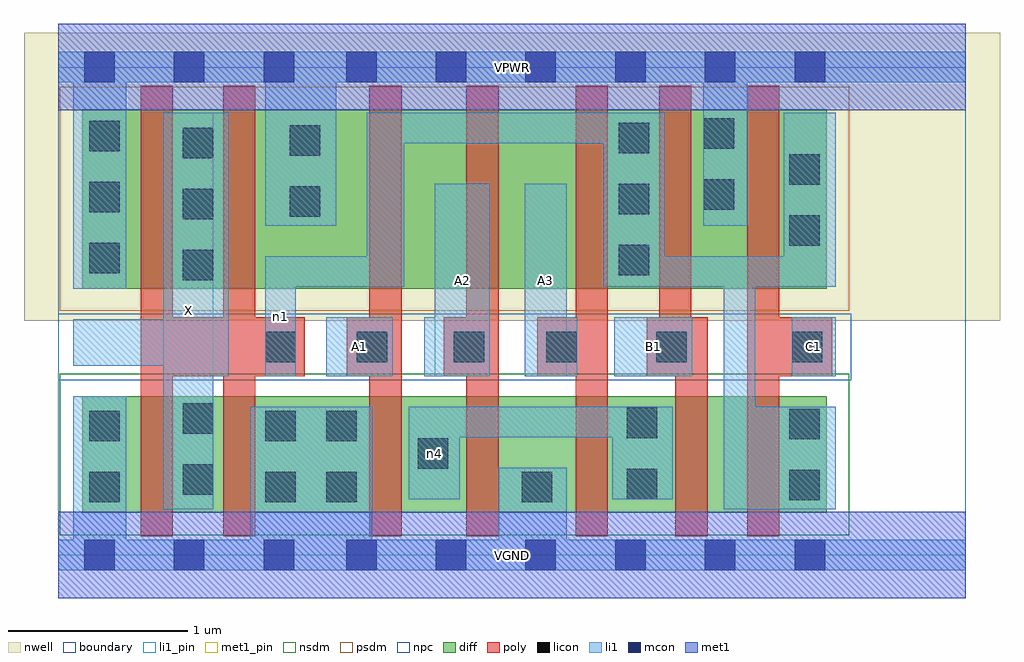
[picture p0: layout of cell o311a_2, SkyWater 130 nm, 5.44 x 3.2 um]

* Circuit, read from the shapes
.subckt o311a_2 A1 A2 A3 B1 C1 VGND VPWR X n1 n4
XM1 X n1 VGND VSUBS sky130_fd_pr__nfet_01v8 w=0.65 l=0.18 m=2
XM2 n4 A1 VGND VSUBS sky130_fd_pr__nfet_01v8 w=0.65 l=0.18
XM3 VGND A2 n4 VSUBS sky130_fd_pr__nfet_01v8 w=0.65 l=0.18
XM4 n4 A3 VGND VSUBS sky130_fd_pr__nfet_01v8 w=0.65 l=0.18
XM5 n2 B1 n4 VSUBS sky130_fd_pr__nfet_01v8 w=0.65 l=0.18
XM6 n1 C1 n2 VSUBS sky130_fd_pr__nfet_01v8 w=0.65 l=0.18
XM7 X n1 VPWR n3 sky130_fd_pr__pfet_01v8 w=1 l=0.18 m=2
XM8 n5 A1 VPWR n3 sky130_fd_pr__pfet_01v8 w=1 l=0.18
XM9 n6 A2 n5 n3 sky130_fd_pr__pfet_01v8 w=1 l=0.18
XM10 n1 A3 n6 n3 sky130_fd_pr__pfet_01v8 w=1 l=0.18
XM11 VPWR B1 n1 n3 sky130_fd_pr__pfet_01v8 w=1 l=0.18
XM12 n1 C1 VPWR n3 sky130_fd_pr__pfet_01v8 w=1 l=0.18
.ends

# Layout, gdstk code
import gdstk
lib = gdstk.Library(unit=1e-6, precision=1e-09)
def R(c, l, rs):  # rectangles x0, y0, x1, y1
    for r in rs: c.add(gdstk.rectangle(r[:2], r[2:], *l))
def A(c, l, x, y, w, h, nx, ny, dx, dy):  # array of equal rectangles
    R(c, l, [(x+i*dx, y+j*dy, x+i*dx+w, y+j*dy+h) for i in range(nx) for j in range(ny)])
nwell = (64, 20)
diff = (65, 20)
poly = (66, 20)
licon = (66, 44)
li1_pin = (67, 16)
li1 = (67, 20)
mcon = (67, 44)
met1_pin = (68, 16)
met1 = (68, 20)
nsdm = (93, 44)
psdm = (94, 20)
npc = (95, 20)
boundary = (235, 4)

o311a_2 = lib.new_cell('o311a_2')
R(o311a_2, nwell, [(-0.19,1.305,5.25,2.91), (0,1.305,5.06,2.91)])
R(o311a_2, diff, [(0.135,0.235,4.285,0.885), (0.135,1.485,4.285,2.485)])
R(o311a_2, poly, [(0.46,0.105,0.64,2.615), (0.92,0.105,1.1,2.615), (1.735,0.105,1.915,2.615), (2.275,0.105,2.455,2.615), (2.885,0.105,3.065,2.615), (3.44,0.105,3.62,1.325), (3.84,0.105,4.02,2.615), (0.46,0.995,1.375,1.325), (1.61,0.995,1.915,1.325), (2.15,0.995,2.455,1.325), (2.67,0.995,3.065,1.325), (3.28,0.995,3.62,1.325), (3.35,0.995,3.53,2.615), (3.84,0.995,4.315,1.325)])
A(o311a_2, licon, 0.695, 1.53, 0.17, 0.17, 1, 3, 0, 0.34)
A(o311a_2, licon, 3.125, 1.56, 0.17, 0.17, 1, 3, 0, 0.34)
A(o311a_2, licon, 0.175, 1.57, 0.17, 0.17, 1, 3, 0, 0.34)
R(o311a_2, licon, [(0.175,0.295,0.345,0.465), (1.155,0.295,1.325,0.465), (1.495,0.295,1.665,0.465), (2.585,0.295,2.755,0.465), (4.075,0.305,4.245,0.475), (3.17,0.31,3.34,0.48), (0.695,0.335,0.865,0.505), (2.005,0.48,2.175,0.65), (0.175,0.635,0.345,0.805), (1.155,0.635,1.325,0.805), (1.495,0.635,1.665,0.805), (4.075,0.645,4.245,0.815), (3.17,0.65,3.34,0.82), (0.695,0.675,0.865,0.845), (1.155,1.075,1.325,1.245), (1.665,1.075,1.835,1.245), (2.205,1.075,2.375,1.245), (2.72,1.075,2.89,1.245), (3.335,1.075,3.505,1.245), (4.09,1.075,4.26,1.245), (4.075,1.725,4.245,1.895), (1.29,1.885,1.46,2.055), (3.6,1.925,3.77,2.095), (4.075,2.065,4.245,2.235), (1.29,2.225,1.46,2.395), (3.6,2.265,3.77,2.435)])
R(o311a_2, li1_pin, [(0.585,0.255,0.865,2.465), (1.495,0.995,1.865,1.325), (2.1,0.995,2.405,2.07), (2.6,0.995,2.835,2.07), (3.1,0.995,3.535,1.325), (4.09,0.995,4.335,1.325)])
R(o311a_2, li1, [(0,-0.085,5.06,0.085), (0.085,-0.085,0.38,0.885), (1.07,-0.085,1.75,0.825), (2.455,-0.085,2.835,0.485), (0.585,0.255,0.865,2.465), (3.71,0.255,4.335,0.825), (3.71,0.255,3.885,1.665), (1.955,0.31,2.24,0.825), (3.09,0.31,3.425,0.825), (1.955,0.655,3.425,0.825), (0.585,0.995,0.95,2.465), (1.155,0.995,1.325,1.665), (1.495,0.995,1.865,1.325), (2.04,0.995,2.405,1.325), (2.1,0.995,2.405,2.07), (2.6,0.995,2.835,2.07), (2.6,0.995,2.895,1.325), (3.1,0.995,3.535,1.325), (4.09,0.995,4.335,1.325), (0.085,1.055,0.95,1.315), (0.085,1.485,0.38,2.805), (1.155,1.495,1.93,1.665), (1.72,1.495,1.93,2.465), (3.04,1.495,3.38,2.465), (3.04,1.495,4.335,1.665), (4.045,1.495,4.335,2.465), (1.155,1.835,1.55,2.805), (3.595,1.835,3.84,2.805), (1.72,2.295,3.38,2.465), (0,2.635,5.06,2.805)])
A(o311a_2, mcon, 0.145, -0.085, 0.17, 0.17, 3, 2, 0.5, 2.72)
A(o311a_2, mcon, 1.605, -0.085, 0.17, 0.17, 6, 2, 0.5, 2.72)
R(o311a_2, met1_pin, [(0,-0.24,5.06,0.24), (0,2.48,5.06,2.96)])
R(o311a_2, met1, [(0,-0.24,5.06,0.24), (0,2.48,5.06,2.96)])
R(o311a_2, nsdm, [(0.01,0.11,4.41,1.01)])
R(o311a_2, psdm, [(0.01,1.36,4.41,2.61)])
R(o311a_2, npc, [(0,0.975,4.42,1.345)])
R(o311a_2, boundary, [(0,0,5.06,2.72)])
o311a_2.add(gdstk.Label('A1', (1.68,1.16), layer=67, texttype=5))
o311a_2.add(gdstk.Label('A2', (2.252,1.532), layer=67, texttype=5))
o311a_2.add(gdstk.Label('A3', (2.717,1.532), layer=67, texttype=5))
o311a_2.add(gdstk.Label('B1', (3.317,1.16), layer=67, texttype=5))
o311a_2.add(gdstk.Label('C1', (4.212,1.16), layer=67, texttype=5))
o311a_2.add(gdstk.Label('X', (0.725,1.36), layer=67, texttype=5))
o311a_2.add(gdstk.Label('n4', (2.097,0.567), layer=67, texttype=5))
o311a_2.add(gdstk.Label('n1', (1.24,1.33), layer=67, texttype=5))
o311a_2.add(gdstk.Label('VPWR', (2.53,2.72), layer=68, texttype=5))
o311a_2.add(gdstk.Label('VGND', (2.53,0), layer=68, texttype=5))
o311a_2.add(gdstk.Label('A1', (1.68,1.16), layer=67, texttype=16))
o311a_2.add(gdstk.Label('A2', (2.252,1.532), layer=67, texttype=16))
o311a_2.add(gdstk.Label('A3', (2.717,1.532), layer=67, texttype=16))
o311a_2.add(gdstk.Label('B1', (3.317,1.16), layer=67, texttype=16))
o311a_2.add(gdstk.Label('C1', (4.212,1.16), layer=67, texttype=16))
o311a_2.add(gdstk.Label('X', (0.725,1.36), layer=67, texttype=16))
o311a_2.add(gdstk.Label('VPWR', (2.53,2.72), layer=68, texttype=16))
o311a_2.add(gdstk.Label('VGND', (2.53,0), layer=68, texttype=16))

lib.write_gds('o311a_2.gds')
